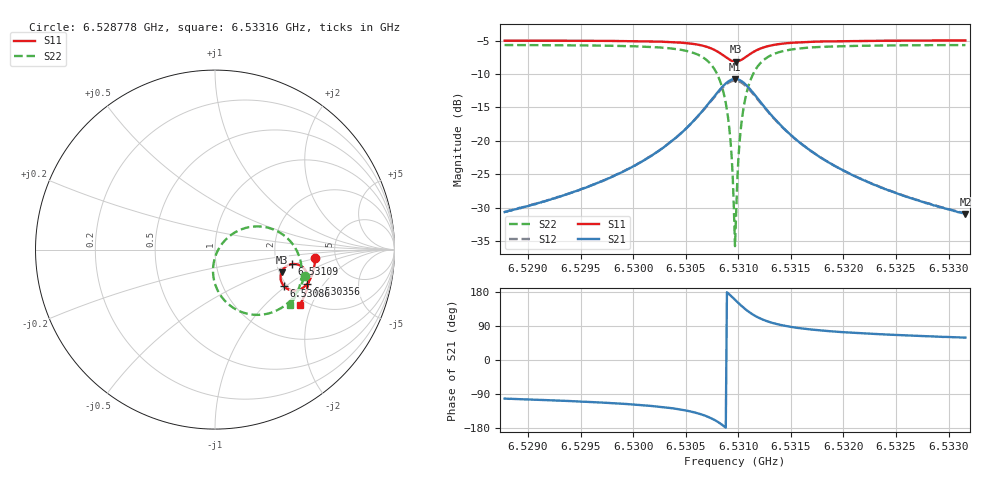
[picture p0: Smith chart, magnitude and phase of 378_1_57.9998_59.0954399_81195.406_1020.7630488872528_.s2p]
#  HZ  S  RI  R  50.00
! Rohde & Schwarz Vector Network Analyzer
! Rohde-Schwarz,ZNB20-2Port,1311601062101988,3.16
! Created: UTC 3/21/2024, 1:07:12 AM
! freq[Hz]  re:S11  im:S11  re:S21  im:S21  re:S12  im:S12  re:S22  im:S22
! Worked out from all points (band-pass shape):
!   401 points, 6.528778 GHz to 6.53316 GHz, reference 50 ohm
!   highest |S21| = -10.74 dB at 6.530969 GHz (marker M1); lowest = -30.9 dB at 6.53316 GHz (marker M2)
!   |S21| within 3 dB of the highest: 6.530751 GHz to 6.531189 GHz (437.9 kHz wide, 0.0067 % of centre)
!   lowest |S11| = -8.1 dB at 6.53098 GHz (marker M3), VSWR 2.29, Z = 103 - j30.5 ohm
!   |S11| at or under -10 dB: nowhere
!   |S22| runs from -35.7 to -5.7 dB; largest |S21 - S12| = 0.011
!   S11 on the Smith chart (normalised r, x): 6.528778 GHz: 3.49, -0.47; 6.530356 GHz: 2.57, -1.40; 6.53086 GHz: 1.93, -0.97; 6.53109 GHz: 2.42, -0.48; 6.53316 GHz: 1.82, -1.65
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6.5287782e9  0.5594 -0.0459  -0.00607 -0.0288  -0.0066 -0.0288  0.499 -0.1487
6.5295122e9  0.5502 -0.1061  -0.0149 -0.041  -0.0157 -0.041  0.4704 -0.2158
6.5302462e9  0.5232 -0.177  -0.0464 -0.0707  -0.0483 -0.0696  0.3934 -0.3084
6.5303557e9  0.5145 -0.1897  -0.0586 -0.0784  -0.0609 -0.0769  0.3675 -0.3266
6.5306953e9  0.4524 -0.2279  -0.1538 -0.0958  -0.1559 -0.0898  0.1871 -0.3588
6.5307939e9  0.4134 -0.2234  -0.2143 -0.0726  -0.2139 -0.0639  0.0834 -0.3112
6.5308596e9  0.3843 -0.2034  -0.2575 -0.0283  -0.2534 -0.0189  0.016 -0.2299
6.5309144e9  0.3675 -0.1724  -0.2795 0.0322  -0.2716 0.0398  -0.0111 -0.1255
6.5309363e9  0.3653 -0.1569  -0.2805 0.0608  -0.2715 0.0669  -0.00811 -0.0784
6.5309473e9  0.3653 -0.149  -0.2787 0.0753  -0.2694 0.0806  -0.00322 -0.0548
6.5309582e9  0.3662 -0.141  -0.2756 0.0898  -0.2661 0.0941  0.00407 -0.0316
6.5309692e9  0.3682 -0.1332  -0.2712 0.1039  -0.2613 0.1073  0.0137 -0.00891
6.5309801e9  0.3708 -0.1256  -0.2653 0.1174  -0.2555 0.1201  0.0256 0.0125
6.5309911e9  0.3743 -0.1182  -0.2581 0.1303  -0.2482 0.1322  0.0393 0.0325
6.5310239e9  0.3887 -0.0997  -0.2299 0.1633  -0.2213 0.1627  0.0904 0.0824
6.5310568e9  0.4068 -0.0872  -0.1964 0.1858  -0.1891 0.1836  0.1496 0.1139
6.5310897e9  0.4262 -0.081  -0.1617 0.1973  -0.156 0.1946  0.2091 0.1279
6.5311664e9  0.4651 -0.0843  -0.0934 0.1955  -0.0904 0.1927  0.3243 0.1126
6.5312759e9  0.4977 -0.1071  -0.0356 0.1655  -0.0343 0.1641  0.4182 0.0483
6.5317031e9  0.5195 -0.1831  0.0141 0.0816  0.0152 0.0814  0.4833 -0.1292
6.5324371e9  0.4994 -0.2555  0.0167 0.0392  0.0174 0.039  0.4555 -0.245
6.5331601e9  0.4714 -0.3085  0.0147 0.0245  0.0153 0.0243  0.4204 -0.3068
